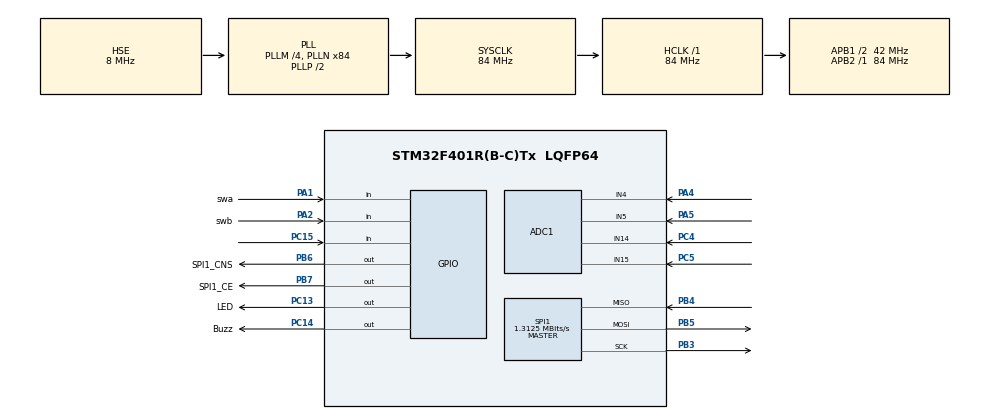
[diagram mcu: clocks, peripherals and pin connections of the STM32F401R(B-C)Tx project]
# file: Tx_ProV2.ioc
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ADC1.Channel-0\#ChannelRegularConversion=ADC_CHANNEL_4
ADC1.Channel-1\#ChannelRegularConversion=ADC_CHANNEL_5
ADC1.Channel-2\#ChannelRegularConversion=ADC_CHANNEL_14
ADC1.Channel-3\#ChannelRegularConversion=ADC_CHANNEL_15
ADC1.ContinuousConvMode=ENABLE
ADC1.DMAContinuousRequests=ENABLE
ADC1.NbrOfConversion=4
ADC1.NbrOfConversionFlag=1
ADC1.Rank-0\#ChannelRegularConversion=1
ADC1.Rank-1\#ChannelRegularConversion=2
ADC1.Rank-2\#ChannelRegularConversion=3
ADC1.Rank-3\#ChannelRegularConversion=4
ADC1.SamplingTime-0\#ChannelRegularConversion=ADC_SAMPLETIME_28CYCLES
ADC1.SamplingTime-1\#ChannelRegularConversion=ADC_SAMPLETIME_28CYCLES
ADC1.SamplingTime-2\#ChannelRegularConversion=ADC_SAMPLETIME_28CYCLES
ADC1.SamplingTime-3\#ChannelRegularConversion=ADC_SAMPLETIME_28CYCLES
ADC1.ScanConvMode=ENABLE
ADC1.master=1
Dma.ADC1.0.Direction=DMA_PERIPH_TO_MEMORY
Dma.ADC1.0.FIFOMode=DMA_FIFOMODE_DISABLE
Dma.ADC1.0.Instance=DMA2_Stream0
Dma.ADC1.0.MemDataAlignment=DMA_MDATAALIGN_WORD
Dma.ADC1.0.MemInc=DMA_MINC_ENABLE
Dma.ADC1.0.Mode=DMA_CIRCULAR
Dma.ADC1.0.PeriphDataAlignment=DMA_PDATAALIGN_WORD
Dma.ADC1.0.PeriphInc=DMA_PINC_DISABLE
Dma.ADC1.0.Priority=DMA_PRIORITY_LOW
Dma.Request0=ADC1
Mcu.Family=STM32F4
Mcu.Name=STM32F401R(B-C)Tx
Mcu.Package=LQFP64
NVIC.DMA2_Stream0_IRQn=true\:0\:0\:false\:false\:true\:false\:true\:true
NVIC.PriorityGroup=NVIC_PRIORITYGROUP_4
NVIC.TIM1_UP_TIM10_IRQn=true\:0\:0\:false\:false\:true\:true\:true\:true
PA1.GPIO_Label=swa
PA1.Signal=GPIO_Input
PA13.Mode=Serial_Wire
PA13.Signal=SYS_JTMS-SWDIO
PA14.Mode=Serial_Wire
PA14.Signal=SYS_JTCK-SWCLK
PA2.GPIO_Label=swb
PA2.Signal=GPIO_Input
PA4.Signal=ADCx_IN4
PA5.Signal=ADCx_IN5
PB3.Mode=Full_Duplex_Master
PB3.Signal=SPI1_SCK
PB4.Mode=Full_Duplex_Master
PB4.Signal=SPI1_MISO
PB5.Mode=Full_Duplex_Master
PB5.Signal=SPI1_MOSI
PB6.GPIO_Label=SPI1_CNS
PB6.Signal=GPIO_Output
PB7.GPIO_Label=SPI1_CE
PB7.Signal=GPIO_Output
PC13-ANTI_TAMP.GPIO_Label=LED
PC13-ANTI_TAMP.Signal=GPIO_Output
PC14-OSC32_IN.GPIO_Label=Buzz
PC14-OSC32_IN.Signal=GPIO_Output
PC15-OSC32_OUT.Signal=GPIO_Input
PC4.Signal=ADCx_IN14
PC5.Signal=ADCx_IN15
PH0\ -\ OSC_IN.Mode=HSE-External-Oscillator
PH0\ -\ OSC_IN.Signal=RCC_OSC_IN
PH1\ -\ OSC_OUT.Mode=HSE-External-Oscillator
PH1\ -\ OSC_OUT.Signal=RCC_OSC_OUT
ProjectManager.HeapSize=0x200
ProjectManager.StackSize=0x400
ProjectManager.TargetToolchain=STM32CubeIDE
RCC.48MHZClocksFreq_Value=42000000
RCC.AHBFreq_Value=84000000
RCC.APB1CLKDivider=RCC_HCLK_DIV2
RCC.APB1Freq_Value=42000000
RCC.APB1TimFreq_Value=84000000
RCC.APB2Freq_Value=84000000
RCC.APB2TimFreq_Value=84000000
RCC.CortexFreq_Value=84000000
RCC.HCLKFreq_Value=84000000
RCC.HSE_VALUE=8000000
RCC.HSI_VALUE=16000000
RCC.LSE_VALUE=32768
RCC.PLLM=4
RCC.PLLN=84
RCC.PLLSourceVirtual=RCC_PLLSOURCE_HSE
RCC.SYSCLKFreq_VALUE=84000000
RCC.SYSCLKSource=RCC_SYSCLKSOURCE_PLLCLK
RCC.VCOOutputFreq_Value=168000000
SH.ADCx_IN14.0=ADC1_IN14,IN14
SH.ADCx_IN15.0=ADC1_IN15,IN15
SH.ADCx_IN4.0=ADC1_IN4,IN4
SH.ADCx_IN5.0=ADC1_IN5,IN5
SPI1.BaudRatePrescaler=SPI_BAUDRATEPRESCALER_64
SPI1.CalculateBaudRate=1.3125 MBits/s
SPI1.Direction=SPI_DIRECTION_2LINES
SPI1.Mode=SPI_MODE_MASTER
SPI1.VirtualType=VM_MASTER
TIM10.Period=1000-1
TIM10.Prescaler=84-1
TIM9.Period=65535-1
TIM9.Prescaler=84-1
VP_TIM10_VS_ClockSourceINT.Mode=Enable_Timer
VP_TIM9_VS_ClockSourceINT.Mode=Internal
board=custom

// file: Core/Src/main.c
/* USER CODE BEGIN Header */
/**
  ******************************************************************************
  * @file           : main.c
  * @brief          : Main program body
  ******************************************************************************
  * @attention
  *
  * Copyright (c) 2023 STMicroelectronics.
  * All rights reserved.
  *
  * This software is licensed under terms that can be found in the LICENSE file
  * in the root directory of this software component.
  * If no LICENSE file comes with this software, it is provided AS-IS.
  *
  ******************************************************************************
  */
/* USER CODE END Header */
#include "main.h"
#include "adc.h"
#include "dma.h"
#include "spi.h"
#include "tim.h"
#include "gpio.h"

/* USER CODE BEGIN Includes */
#include "IIRFilter.h"
#include "MY_NRF24.h"
#include "nRF24L01.h"
#include "stdbool.h"
#include "stdlib.h"
#include "MY_FLASH.h"
/* USER CODE END Includes */

/* USER CODE BEGIN PTD */
typedef struct{
	uint16_t ch1;
	uint16_t ch2;
	uint16_t ch3;
	uint16_t ch4;

	uint16_t swa;
	uint16_t swb;
}TxBufferTypedef;  //Channel Tx

typedef struct {
	bool channel_reverse[4];
	bool aux_reverse[3];
}ReverseConfig_typedef ;

typedef struct{

	long min;
	long max;
	bool Is_Min_Cal;
	bool Is_Max_Cal;

}Calibrate_Typedef;

typedef struct{
	uint16_t mem_max[4];
	uint16_t mem_min[4];
}Calibrate_mem_typedef;
/* USER CODE END PTD */

/* USER CODE BEGIN PD */
#define IIR_FILTER_ALPHA_I		0.0001f
#define IIR_FILTER_ALPHA_II		0.00001f

#define CALIBRATE_SAMPLING		1000
#define MIN_VAL					1000
#define MAX_VAL					2000
/* USER CODE END PD */

/* USER CODE BEGIN PV */
uint64_t TxpipeAddrs = 0x11223344AA;
uint8_t rf_channel_mem;
uint8_t rf_channel = 0;
bool AckPayload;

uint8_t toggle_sw[2];
TxBufferTypedef Tx_Buffer;

uint32_t adc_val[4];
uint16_t adc_filter_val_I[4];
uint16_t adc_filter_val_II[4];
uint16_t channel_filter_val[4];
IIRFilter adc_filter[4];
IIRFilter channel_filter[4];

uint16_t channel_map[4];
uint16_t channel_val[4];
uint8_t channel_index;

uint8_t btn_bind_state;
uint8_t btn_mode_state;

uint16_t calibrate_mem_max[4];
uint16_t calibrate_mem_min[4];

uint8_t calibrate_num;
int8_t offset_val[4];
int8_t sign[4]={1,1,1,1,};
Calibrate_Typedef calibrate[4];
Calibrate_mem_typedef buffer_write;
Calibrate_mem_typedef buffer_read;

uint32_t loop_timer;
bool Is_Bind = false;
bool Is_cal = false;
bool Op_Disable = false;
/* USER CODE END PV */

void SystemClock_Config(void);
/* USER CODE BEGIN PFP */
long map(long x, long in_min, long in_max, long out_min, long out_max) {
  return (x - in_min) * (out_max - out_min) / (in_max - in_min) + out_min;
}

void switch_channel(){
	// switch A
	if ( toggle_sw[0] == 0 ) Tx_Buffer.swa = 1000;
	else Tx_Buffer.swa = 2000;

	// switch B
	if ( toggle_sw[1] == 0 ) Tx_Buffer.swb = 1000;
		else Tx_Buffer.swb = 2000;
}
void get_filter_value(){
	for ( uint8_t i=0; i<4; i++ ){
		adc_filter_val_I[i] = IIRFilter_Update(&adc_filter[i], adc_val[i]);
		adc_filter_val_II[i] = IIRFilter_Update(&adc_filter[i], adc_filter_val_I[i]);
		channel_filter_val[i] = IIRFilter_Update(&channel_filter[i], adc_filter_val_II[i]);
	}
}
void reverse(uint8_t channel_index){

	switch (channel_index) {

		case 0:
		   channel_map[0] = map(channel_filter_val[0], buffer_read.mem_min[0], buffer_read.mem_max[0], MIN_VAL, MAX_VAL)-5;  //YAW TX2
		   //channel_map[0] = map(channel_filter_val[0],buffer_read.mem_min[0],buffer_read.mem_max[0], MAX_VAL, MIN_VAL)-34;
			//channel_map[0] = map(channel_filter_val[0],5,4091, MAX_VAL, MIN_VAL)-34; //TX1
		   //channel_map[0] = map(channel_filter_val[0],buffer_read.mem_min[0],buffer_read.mem_max[0], MAX_VAL, MIN_VAL)+18; //TX3
		  // channel_map[0] = map(channel_filter_val[0],5, 4090, MIN_VAL, MAX_VAL)+18; //TX3
			//channel_map[0] = map(channel_filter_val[0],6, 4092, MIN_VAL, MAX_VAL)-19; //TX4
			//channel_map[0] = map(channel_filter_val[0],6, 4092, MIN_VAL, MAX_VAL); //TX5
			//channel_map[0] = map(channel_filter_val[0], buffer_read.mem_min[0], buffer_read.mem_max[0], MIN_VAL, MAX_VAL)-19;  //YAW TX4
			//channel_map[0] = map(channel_filter_val[0], buffer_read.mem_min[0], buffer_read.mem_max[0], MIN_VAL, MAX_VAL)-5;  //YAW TX5
			/****Left THU***/
			//channel_map[0] = map(channel_filter_val[0],5, 4092, MIN_VAL, MAX_VAL)-20; //TX1 Pitch
			//channel_map[0] = map(channel_filter_val[0],4, 4090, MIN_VAL, MAX_VAL)+7; //TX2 Pitch
			//channel_map[0] = map(channel_filter_val[0],buffer_read.mem_min[0],buffer_read.mem_max[0], MIN_VAL, MAX_VAL)-20; //TX1
		   break;

		case 1:
			//channel_map[1] = map(channel_filter_val[1],61,4049, MIN_VAL, MAX_VAL); //TX1
			//channel_map[1] = map(channel_filter_val[1], buffer_read.mem_min[1],buffer_read.mem_max[1], MIN_VAL, MAX_VAL);
			channel_map[1] = map(channel_filter_val[1], buffer_read.mem_min[1],buffer_read.mem_max[1], MIN_VAL, MAX_VAL); //TX2
			//channel_map[1] = map(channel_filter_val[1], buffer_read.mem_min[1],buffer_read.mem_max[1], MIN_VAL, MAX_VAL); //TX3
			//channel_map[1] = map(channel_filter_val[1],70, 4082, MIN_VAL, MAX_VAL); //TX3
			//channel_map[1] = map(channel_filter_val[1],10, 4091, MIN_VAL, MAX_VAL); //TX4
			//channel_map[1] = map(channel_filter_val[1],16, 4091, MIN_VAL, MAX_VAL); //TX5
			//channel_map[1] = map(channel_filter_val[1],buffer_read.mem_min[1],buffer_read.mem_max[1], MIN_VAL, MAX_VAL); //THR TX4
			//channel_map[1] = map(channel_filter_val[1],buffer_read.mem_min[1],buffer_read.mem_max[1], MIN_VAL, MAX_VAL); //THR TX5
			/****Left THU***/
			//channel_map[1] = map(channel_filter_val[1],90, 4090, MIN_VAL, MAX_VAL)+16; //TX1 Roll
			//channel_map[1] = map(channel_filter_val[1],13, 4090, MIN_VAL, MAX_VAL)+6; //TX2 Roll
			//channel_map[1] = map(channel_filter_val[1],buffer_read.mem_min[1],buffer_read.mem_max[1], MIN_VAL, MAX_VAL)+16; //TX1
			break;

		case 2:
			//channel_map[2] = map(channel_filter_val[2], 5, 4091, MIN_VAL, MAX_VAL)+7;//TX1
			//channel_map[2] = map(channel_filter_val[2],buffer_read.mem_min[2],buffer_read.mem_max[2], MIN_VAL, MAX_VAL)+7;
			channel_map[2] = map(channel_filter_val[2],buffer_read.mem_min[2],buffer_read.mem_max[2], MIN_VAL, MAX_VAL)-13; //TX2
			//channel_map[2] = map(channel_filter_val[2],5, 4091, MIN_VAL, MAX_VAL)-17; //TX3
			//channel_map[2] = map(channel_filter_val[2],5, 4090, MIN_VAL, MAX_VAL)-26; //TX4
			//channel_map[2] = map(channel_filter_val[2],4, 4091, MIN_VAL, MAX_VAL); //TX5
			//channel_map[2] = map(channel_filter_val[2],buffer_read.mem_min[2],buffer_read.mem_max[2], MIN_VAL, MAX_VAL)-17;//Pitch TX3
			//channel_map[2] = map(channel_filter_val[2],buffer_read.mem_min[2],buffer_read.mem_max[2], MIN_VAL, MAX_VAL)-26;//Pitch TX4
			//channel_map[2] = map(channel_filter_val[2],buffer_read.mem_min[2],buffer_read.mem_max[2], MIN_VAL, MAX_VAL)-8;//Pitch TX5
			/****Left THU***/
			//channel_map[2] = map(channel_filter_val[2],52, 4091, MIN_VAL, MAX_VAL)-6; //TX1 YAW
			//channel_map[2] = map(channel_filter_val[2],5, 4089, MIN_VAL, MAX_VAL)+9; //TX2 YAW
			//channel_map[2] = map(channel_filter_val[2],buffer_read.mem_min[2],buffer_read.mem_max[2], MIN_VAL, MAX_VAL)-6; //TX1
			break;
		case 3:
		  //channel_map[3] = map(channel_filter_val[3],7, 4090, MIN_VAL, MAX_VAL)-10;//TX1
		 // channel_map[3] = map(channel_filter_val[3],buffer_read.mem_min[3],buffer_read.mem_max[3], MIN_VAL, MAX_VAL)-10; //TX1 //10
		  channel_map[3] = map(channel_filter_val[3],buffer_read.mem_min[3],buffer_read.mem_max[3], MIN_VAL, MAX_VAL)-17; //TX2
		 // channel_map[3] = map(channel_filter_val[3],13, 4091, MIN_VAL, MAX_VAL)-10; //TX3
			//channel_map[3] = map(channel_filter_val[3],10, 4091, MIN_VAL, MAX_VAL)-20; //TX4
			//channel_map[3] = map(channel_filter_val[3],5, 4091, MIN_VAL, MAX_VAL); //TX5
			//channel_map[3] = map(channel_filter_val[3],buffer_read.mem_min[3],buffer_read.mem_max[3], MIN_VAL, MAX_VAL)-20; //TX4
			//channel_map[3] = map(channel_filter_val[3],buffer_read.mem_min[3],buffer_read.mem_max[3], MIN_VAL, MAX_VAL)-17; //TX5
			/****Left THU***/
			//channel_map[3] = map(channel_filter_val[3],80, 4092, MIN_VAL, MAX_VAL); //TX1 THR
			//channel_map[3] = map(channel_filter_val[3],buffer_read.mem_min[3],buffer_read.mem_max[3], MIN_VAL, MAX_VAL); //TX1
			//channel_map[3] = map(channel_filter_val[3],82, 4092, MIN_VAL, MAX_VAL); //TX2 THR
		  break;
		default:
			break;
	}

}

void channel_default(uint8_t channel_index){

	switch (channel_index) {

		case 0:
			//channel_map[0] = map(channel_filter_val[0],5, 4091, MIN_VAL, MAX_VAL)-34;//TX1
			//channel_map[0] = map(channel_filter_val[0], buffer_read.mem_min[0], buffer_read.mem_max[0], MIN_VAL, MAX_VAL)-34;  //YAW //TX1
			channel_map[0] = map(channel_filter_val[0], buffer_read.mem_min[0], buffer_read.mem_max[0], MIN_VAL, MAX_VAL)-5;  //YAW TX2
			//channel_map[0] = map(channel_filter_val[0],5, 4090, MIN_VAL, MAX_VAL)+18; //TX3
			//channel_map[0] = map(channel_filter_val[0], buffer_read.mem_min[0], buffer_read.mem_max[0], MIN_VAL, MAX_VAL)+18;  //YAW TX3
			//channel_map[0] = map(channel_filter_val[0],6, 4092, MIN_VAL, MAX_VAL)-19; //TX4
			//channel_map[0] = map(channel_filter_val[0],6, 4092, MIN_VAL, MAX_VAL)-5; //TX5
			//channel_map[0] = map(channel_filter_val[0], buffer_read.mem_min[0], buffer_read.mem_max[0], MIN_VAL, MAX_VAL)-19;  //YAW TX4
			//channel_map[0] = map(channel_filter_val[0], buffer_read.mem_min[0], buffer_read.mem_max[0], MIN_VAL, MAX_VAL)-5;  //YAW TX5
			/****Left THU***/
			//channel_map[0] = map(channel_filter_val[0],5, 4092, MIN_VAL, MAX_VAL)-20; //TX1 Pitch
			//channel_map[0] = map(channel_filter_val[0],4, 4090, MIN_VAL, MAX_VAL)+7; //TX2 Pitch
			//channel_map[0] = map(channel_filter_val[0],buffer_read.mem_min[0],buffer_read.mem_max[0], MIN_VAL, MAX_VAL)-20; //TX1
			break;
		case 1:
			//channel_map[1] = map(channel_filter_val[1],61, 4049, MIN_VAL, MAX_VAL);//TX1
			//channel_map[1] = map(channel_filter_val[1],buffer_read.mem_min[1],buffer_read.mem_max[1], MIN_VAL, MAX_VAL); //THR TX1
			channel_map[1] = map(channel_filter_val[1],buffer_read.mem_min[1],buffer_read.mem_max[1], MIN_VAL, MAX_VAL); //THR TX2
			//channel_map[1] = map(channel_filter_val[1],70, 4082, MIN_VAL, MAX_VAL); //TX3
			//channel_map[1] = map(channel_filter_val[1],buffer_read.mem_min[1],buffer_read.mem_max[1], MIN_VAL, MAX_VAL); //THR TX3
			//channel_map[1] = map(channel_filter_val[1],9, 4091, MIN_VAL, MAX_VAL); //TX4
			//channel_map[1] = map(channel_filter_val[1],16, 4091, MIN_VAL, MAX_VAL); //TX5
			//channel_map[1] = map(channel_filter_val[1],buffer_read.mem_min[1],buffer_read.mem_max[1], MIN_VAL, MAX_VAL); //THR TX4
			//channel_map[1] = map(channel_filter_val[1],buffer_read.mem_min[1],buffer_read.mem_max[1], MIN_VAL, MAX_VAL); //THR TX5
			/****Left THU***/
			//channel_map[1] = map(channel_filter_val[1],90, 4090, MIN_VAL, MAX_VAL)+16; //TX1 Roll
			//channel_map[1] = map(channel_filter_val[1],13, 4090, MIN_VAL, MAX_VAL)+6; //TX2 Roll
			//channel_map[1] = map(channel_filter_val[1],buffer_read.mem_min[1],buffer_read.mem_max[1], MIN_VAL, MAX_VAL)+16; //TX1
			break;
		case 2:
			//channel_map[2] = map(channel_filter_val[2],5, 4091, MIN_VAL, MAX_VAL)+7; //Pitch TX1
			//channel_map[2] = map(channel_filter_val[2],buffer_read.mem_min[2],buffer_read.mem_max[2], MIN_VAL, MAX_VAL)+7; //TX1
			channel_map[2] = map(channel_filter_val[2],buffer_read.mem_min[2],buffer_read.mem_max[2], MIN_VAL, MAX_VAL)-13;//Pitch TX2
			//channel_map[2] = map(channel_filter_val[2],5, 4091, MIN_VAL, MAX_VAL)-17; //TX3
			//channel_map[2] = map(channel_filter_val[2],buffer_read.mem_min[2],buffer_read.mem_max[2], MIN_VAL, MAX_VAL)-17;//Pitch TX3
			//channel_map[2] = map(channel_filter_val[2],5, 4090, MIN_VAL, MAX_VAL)-26; //TX4
			//channel_map[2] = map(channel_filter_val[2],4, 4091, MIN_VAL, MAX_VAL)-8; //TX5
			//channel_map[2] = map(channel_filter_val[2],buffer_read.mem_min[2],buffer_read.mem_max[2], MIN_VAL, MAX_VAL)-26;//Pitch TX4
			//channel_map[2] = map(channel_filter_val[2],buffer_read.mem_min[2],buffer_read.mem_max[2], MIN_VAL, MAX_VAL)-8;//Pitch TX5
			/****Left THU***/
			//channel_map[2] = map(channel_filter_val[2],52, 4091, MIN_VAL, MAX_VAL)-6; //TX1 YAW
			//channel_map[2] = map(channel_filter_val[2],5, 4089, MIN_VAL, MAX_VAL)+9; //TX2 YAW
			//channel_map[2] = map(channel_filter_val[2],buffer_read.mem_min[2],buffer_read.mem_max[2], MIN_VAL, MAX_VAL)-6; //TX1
		case 3:
		   // channel_map[3] = map(channel_filter_val[3],7, 4090, MIN_VAL, MAX_VAL)-10; //Roll TX1
			//channel_map[3] = map(channel_filter_val[3],buffer_read.mem_min[3],buffer_read.mem_max[3], MIN_VAL, MAX_VAL)-10; //TX1 //TX3
			channel_map[3] = map(channel_filter_val[3],buffer_read.mem_min[3],buffer_read.mem_max[3], MIN_VAL, MAX_VAL)-17; //TX2
			//channel_map[3] = map(channel_filter_val[3],13, 4091, MIN_VAL, MAX_VAL)-10; //TX3
			//channel_map[3] = map(channel_filter_val[3],10, 4091, MIN_VAL, MAX_VAL)-20; //TX4
			//channel_map[3] = map(channel_filter_val[3],5, 4091, MIN_VAL, MAX_VAL)-17; //TX5
			//channel_map[3] = map(channel_filter_val[3],buffer_read.mem_min[3],buffer_read.mem_max[3], MIN_VAL, MAX_VAL)-20; //TX4
			//channel_map[3] = map(channel_filter_val[3],buffer_read.mem_min[3],buffer_read.mem_max[3], MIN_VAL, MAX_VAL)-17; //TX5
			/****Left THU***/
			//channel_map[3] = map(channel_filter_val[3],80, 4092, MIN_VAL, MAX_VAL); //TX1 THR
			//channel_map[3] = map(channel_filter_val[3],82, 4092, MIN_VAL, MAX_VAL); //TX2 THR
			//channel_map[3] = map(channel_filter_val[3],buffer_read.mem_min[3],buffer_read.mem_max[3], MIN_VAL, MAX_VAL); //TX1
			break;
		default:
			break;
	}

	for (uint8_t i =0; i<4 ; i++ ){
		channel_val[i] = channel_map[i];
	}

}
void calibration_joystick(uint8_t index){

	  if ( Is_cal ){
		  if ( (adc_val[index] > 3500 && adc_val[index] < 4095 ) && calibrate[index].Is_Max_Cal == true ){
			  calibrate[index].max = 0;
			  HAL_GPIO_WritePin(LED_GPIO_Port, LED_Pin, 1);
			  HAL_Delay(1000);
			  for ( uint16_t i=0; i<CALIBRATE_SAMPLING; i++ ){
				  if ( i % 10 == 0 ) HAL_GPIO_TogglePin(LED_GPIO_Port, LED_Pin);
				  get_filter_value();
				  calibrate[index].max += adc_filter_val_I[index];
				  HAL_Delay(4);
			  }
			  HAL_GPIO_WritePin(LED_GPIO_Port, LED_Pin, 0);
			  calibrate[index].max /= CALIBRATE_SAMPLING;
			  buffer_write.mem_max[index] = calibrate[index].max;
			  calibrate[index].Is_Max_Cal = false;
			  calibrate_num++;

		  }
		  if ( (adc_val[index] > 0 && adc_val[index] < 500) && calibrate[index].Is_Min_Cal == true ) {
			  calibrate[index].min = 0;
			  HAL_GPIO_WritePin(LED_GPIO_Port, LED_Pin, 1);
			  HAL_Delay(1000);
			  for ( uint16_t i=0; i<CALIBRATE_SAMPLING; i++ ){
				  if ( i % 10 == 0 ) HAL_GPIO_TogglePin(LED_GPIO_Port, LED_Pin);
				  get_filter_value();
				  calibrate[index].min += adc_filter_val_I[index];
				  HAL_Delay(4);
			  }
			  HAL_GPIO_WritePin(LED_GPIO_Port, LED_Pin, 0);
			  calibrate[index].min /= CALIBRATE_SAMPLING;
			  buffer_write.mem_min[index] = calibrate[index].min;
			  calibrate[index].Is_Min_Cal = false;
			  calibrate_num++;
		  }
	  }
}
/* USER CODE END PFP */

int main(void)
{

  /* MCU Configuration--------------------------------------------------------*/

  /* Reset of all peripherals, Initializes the Flash interface and the Systick. */
  HAL_Init();

  /* Configure the system clock */
  SystemClock_Config();

  /* Initialize all configured peripherals */
  MX_GPIO_Init();
  MX_DMA_Init();
  MX_ADC1_Init();
  MX_SPI1_Init();
  MX_TIM9_Init();
  MX_TIM10_Init();
  /* USER CODE BEGIN 2 */

  //Write RF chan Value
MY_FLASH_SetSectorAddrs(4,0x08010000); //Write RF CHAN Value
MY_FLASH_ReadN(0,&rf_channel, sizeof(rf_channel), DATA_TYPE_8);
HAL_Delay(50);
  //READ CAL Value
MY_FLASH_SetSectorAddrs(5, 0x08020000); //Write CAL Value
MY_FLASH_ReadN(0,&buffer_read, sizeof(buffer_read), DATA_TYPE_8);
HAL_Delay(50);
HAL_ADC_Start_DMA(&hadc1, adc_val, 4);
HAL_Delay(50);

     for ( uint8_t i =0; i<4; i++ ){
   	  IIRFilter_Init(&adc_filter[i], IIR_FILTER_ALPHA_I);
   	  IIRFilter_Init(&channel_filter[i], IIR_FILTER_ALPHA_II);
     }

     for ( uint8_t i =0; i<4; i++ ){
       	  calibrate[i].Is_Max_Cal = true;
       	  calibrate[i].Is_Min_Cal = true;
         }

     ///nRF Stuffs///
        NRF24_begin(SPI1_CNS_GPIO_Port, SPI1_CNS_Pin, SPI1_CE_Pin, hspi1);
        NRF24_stopListening();
        NRF24_openWritingPipe(TxpipeAddrs);
        NRF24_setAutoAck(true);
        NRF24_setChannel(rf_channel);
       // NRF24_setChannel(81);
       // NRF24_setChannel(82);
       // NRF24_setChannel(83);
      // NRF24_setChannel(84);
       // NRF24_setChannel(87);
       // NRF24_setChannel(88);
       // NRF24_setChannel(90);
        NRF24_setPayloadSize(14);
        NRF24_enableAckPayload();
        NRF24_enableDynamicPayloads();
        HAL_Delay(50);

        HAL_TIM_Base_Start_IT(&htim10);
        HAL_TIM_Base_Start(&htim9);

        /////******Bind_Mode******//////
        btn_bind_state = HAL_GPIO_ReadPin(swa_GPIO_Port, swa_Pin);
         if ( btn_bind_state == 0 && adc_val[1]< 300 && adc_val[0]> 4000  ) Is_Bind = true;
         else Is_Bind = false;
         /////******Bind_Mode******////// Left THR
//              btn_bind_state = HAL_GPIO_ReadPin(swa_GPIO_Port, swa_Pin);
//               if ( btn_bind_state == 0 && adc_val[2]> 4080 && adc_val[3]< 60  ) Is_Bind = true;
//               else Is_Bind = false;
        //////******Operation disable******//// TX1
//         if (adc_val[1]>80 ||btn_mode_state ==1 ||btn_bind_state ==1) Op_Disable = true;
//         else Op_Disable = false;
        //////******Operation disable******//// TX2
         if (adc_val[1]>200 ||btn_mode_state ==1 ||btn_bind_state ==1) Op_Disable = true;
         else Op_Disable = false;
         //////******Operation disable******//// TX3
//                 if (adc_val[1]>100 ||btn_mode_state ==1 ||btn_bind_state ==1) Op_Disable = true;
//                 else Op_Disable = false;
         //////******Operation disable******//// TX4
                          //if (adc_val[1]>60 ||btn_mode_state ==1 ||btn_bind_state ==1) Op_Disable = true;
                         // else Op_Disable = false;
        //////******Operation disable******//// TX5
                          /* if (adc_val[1]>25 ||btn_mode_state ==1 ||btn_bind_state ==1) Op_Disable = true;
                              else Op_Disable = false;*/
               //////******Operation disable******//// TX1 Left THR
                          //  if (adc_val[3]>1500 ||btn_mode_state ==1 ||btn_bind_state ==1) Op_Disable = true;
                           // else Op_Disable = false;
               //////******Operation disable******//// TX2 Left THR
//                if (adc_val[3]>150 ||btn_mode_state ==1 ||btn_bind_state ==1) Op_Disable = true;
//                else Op_Disable = false;
       //////******JoyStick calibration******////TX1
//         btn_mode_state = HAL_GPIO_ReadPin(swb_GPIO_Port, swb_Pin);
//         if ( btn_mode_state ==0 && btn_bind_state == 0 && adc_val[2]<100 && adc_val[3]>4000 && adc_val[1]<80 ) Is_cal = true;
//         else Is_cal = false;

	//////******JoyStick calibration******////TX2
         btn_mode_state = HAL_GPIO_ReadPin(swb_GPIO_Port, swb_Pin);
         if (btn_mode_state ==0 && btn_bind_state ==0 && adc_val[2]<100 && adc_val[3]>4000 && adc_val[1]<170 ) Is_cal = true;
         else Is_cal = false;
	//////******JoyStick calibration******////TX3
//                   btn_mode_state = HAL_GPIO_ReadPin(swb_GPIO_Port, swb_Pin);
//                   if ( btn_mode_state ==0 && btn_bind_state == 0 && adc_val[2]<15 && adc_val[3]>4000 && adc_val[1]<80 ) Is_cal = true;
//                   else Is_cal = false;
	//////******JoyStick calibration******////TX5
	//btn_mode_state = HAL_GPIO_ReadPin(swb_GPIO_Port, swb_Pin);
	//if (btn_mode_state == 0 && btn_bind_state == 0 && adc_val[2] < 15
			//&& adc_val[3] > 4000 && adc_val[1] < 20)
		//Is_cal = true;
	//else
		//Is_cal = false;
            	//////******JoyStick calibration******////TX1 THR
//            	btn_mode_state = HAL_GPIO_ReadPin(swb_GPIO_Port, swb_Pin);
//            	if (btn_mode_state == 0 && btn_bind_state == 0 && adc_val[3] < 95 && adc_val[0] < 15 && adc_val[1] > 4080)
//            		Is_cal = true;
//            	else
//            		Is_cal = false;
//            	btn_mode_state = HAL_GPIO_ReadPin(swb_GPIO_Port, swb_Pin);
//            		if (btn_mode_state == 0 && btn_bind_state == 0 && adc_val[2] < 15
//            				&& adc_val[3] > 4000 && adc_val[1] < 20)
//            			Is_cal = true;
//            		else
//            			Is_cal = false;
  /* USER CODE END 2 */

  /* Infinite loop */
  /* USER CODE BEGIN WHILE */
  while (1)
  {

	  while (Is_Bind){
	 		  for ( uint8_t i=0; i<127; i++ ){
	 			  NRF24_setChannel(i);
	 				 HAL_GPIO_TogglePin(LED_GPIO_Port, LED_Pin);
	 				 HAL_Delay(50);
	 				 HAL_GPIO_TogglePin(Buzz_GPIO_Port, Buzz_Pin);
	 			  if ( NRF24_write(&Tx_Buffer,32) ){
	 				  NRF24_read(&AckPayload, 32);
	 			  }
	 			  HAL_Delay(10);
	 			  if ( AckPayload == true ){
	 				  rf_channel_mem = i;
	 				MY_FLASH_SetSectorAddrs(4,0x08010000);
	 				MY_FLASH_WriteN(0, &rf_channel_mem, sizeof(rf_channel_mem), DATA_TYPE_8);
	  			      HAL_Delay(50);
	 				  Is_Bind = false;
	 				 HAL_GPIO_WritePin(LED_GPIO_Port, LED_Pin, 0);
	 				 HAL_GPIO_WritePin(Buzz_GPIO_Port, Buzz_Pin, 0);
	 				  break;
	 			  }

	 		  }

	 	  }

	  toggle_sw[0] = HAL_GPIO_ReadPin(swa_GPIO_Port, swa_Pin);
	  toggle_sw[1] = HAL_GPIO_ReadPin(swb_GPIO_Port, swb_Pin);

	while (Op_Disable){
	  		  HAL_GPIO_TogglePin(LED_GPIO_Port, LED_Pin);
	  		  HAL_Delay(500);
	  		  HAL_GPIO_TogglePin(Buzz_GPIO_Port, Buzz_Pin);
	  		  btn_bind_state = HAL_GPIO_ReadPin(swa_GPIO_Port, swa_Pin);
	  		  HAL_Delay(25);
	  		 if(adc_val[1]< 80 && btn_mode_state ==0 && btn_bind_state ==0) { //Safe THR Detection
	  		  Op_Disable = false;
	  		 HAL_GPIO_WritePin(LED_GPIO_Port, LED_Pin, 0);
	  		 HAL_GPIO_WritePin(Buzz_GPIO_Port, Buzz_Pin, 0);
	  		  break;
	  		 }
	  	  }//Unable to USE
//		while (Op_Disable){
//		  		  HAL_GPIO_TogglePin(LED_GPIO_Port, LED_Pin);
//		  		  HAL_Delay(500);
//		  		  HAL_GPIO_TogglePin(Buzz_GPIO_Port, Buzz_Pin);
//		  		  btn_bind_state = HAL_GPIO_ReadPin(swa_GPIO_Port, swa_Pin);
//		  		  HAL_Delay(25);
//		  		 if(adc_val[3]< 100 && btn_mode_state ==0 && btn_bind_state ==0) { //Safe THR Detection
//		  		  Op_Disable = false;
//		  		 HAL_GPIO_WritePin(LED_GPIO_Port, LED_Pin, 0);
//		  		 HAL_GPIO_WritePin(Buzz_GPIO_Port, Buzz_Pin, 0);
//		  		  break;
//		  		 }
//		  	  }//Unable to USE Left THR

//	  	 HAL_GPIO_WritePin(LED_GPIO_Port, LED_Pin, 0);
//	  	 HAL_GPIO_WritePin(Buzz_GPIO_Port, Buzz_Pin, 0);

		if (calibrate_num >= 8) {
			HAL_Delay(10);
			MY_FLASH_SetSectorAddrs(5, 0x08020000);
			MY_FLASH_WriteN(0, &buffer_write, sizeof(Calibrate_mem_typedef),DATA_TYPE_8);
			HAL_Delay(10);
			calibrate_num = 0;
			Is_cal = false;
		} else {
			for (uint8_t i = 0; i < 4; i++) {
				calibration_joystick(i);
			}
		}

	  	     get_filter_value();
	  	     switch_channel();
	  	     reverse(0);
	  	     reverse(1);
	  	     reverse(2);
	  	     reverse(3);
	  	     channel_default(0);
	  	     channel_default(1);
	  	     channel_default(2);
	  	     channel_default(3);

	  	   Tx_Buffer.ch3 = channel_val[1]; //THR
	  	   Tx_Buffer.ch4 = channel_val[0]; //YAW
	  	   Tx_Buffer.ch2 =channel_val[2];  //Pitch
	  	   Tx_Buffer.ch1 = channel_val[3]; //Roll

//	  	Tx_Buffer.ch3 = channel_val[3]; //THR
//		Tx_Buffer.ch4 = channel_val[2]; //YAW
//		Tx_Buffer.ch2 = channel_val[0];  //Pitch
//		Tx_Buffer.ch1 = channel_val[1]; //Roll

	  	  NRF24_write(&Tx_Buffer,sizeof(Tx_Buffer));
	  	  while ( __HAL_TIM_GET_COUNTER(&htim9) - loop_timer < 1000 );
	  	  loop_timer = __HAL_TIM_GET_COUNTER(&htim9);
    /* USER CODE END WHILE */

  }
}

void SystemClock_Config(void)
{
  RCC_OscInitTypeDef RCC_OscInitStruct = {0};
  RCC_ClkInitTypeDef RCC_ClkInitStruct = {0};

  /** Configure the main internal regulator output voltage
  */
  __HAL_RCC_PWR_CLK_ENABLE();
  __HAL_PWR_VOLTAGESCALING_CONFIG(PWR_REGULATOR_VOLTAGE_SCALE2);

  /** Initializes the RCC Oscillators according to the specified parameters
  * in the RCC_OscInitTypeDef structure.
  */
  RCC_OscInitStruct.OscillatorType = RCC_OSCILLATORTYPE_HSE;
  RCC_OscInitStruct.HSEState = RCC_HSE_ON;
  RCC_OscInitStruct.PLL.PLLState = RCC_PLL_ON;
  RCC_OscInitStruct.PLL.PLLSource = RCC_PLLSOURCE_HSE;
  RCC_OscInitStruct.PLL.PLLM = 4;
  RCC_OscInitStruct.PLL.PLLN = 84;
  RCC_OscInitStruct.PLL.PLLP = RCC_PLLP_DIV2;
  RCC_OscInitStruct.PLL.PLLQ = 4;
  if (HAL_RCC_OscConfig(&RCC_OscInitStruct) != HAL_OK)
  {
    Error_Handler();
  }

  /** Initializes the CPU, AHB and APB buses clocks
  */
  RCC_ClkInitStruct.ClockType = RCC_CLOCKTYPE_HCLK|RCC_CLOCKTYPE_SYSCLK
                              |RCC_CLOCKTYPE_PCLK1|RCC_CLOCKTYPE_PCLK2;
  RCC_ClkInitStruct.SYSCLKSource = RCC_SYSCLKSOURCE_PLLCLK;
  RCC_ClkInitStruct.AHBCLKDivider = RCC_SYSCLK_DIV1;
  RCC_ClkInitStruct.APB1CLKDivider = RCC_HCLK_DIV2;
  RCC_ClkInitStruct.APB2CLKDivider = RCC_HCLK_DIV1;

  if (HAL_RCC_ClockConfig(&RCC_ClkInitStruct, FLASH_LATENCY_2) != HAL_OK)
  {
    Error_Handler();
  }
}

void Error_Handler(void)
{
  __disable_irq();
  while (1)
  {
  }
}
